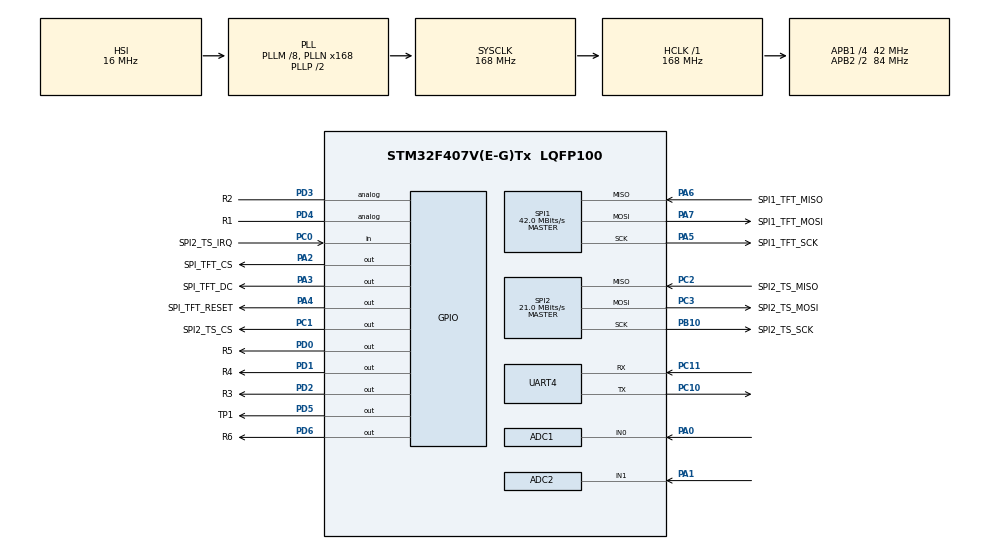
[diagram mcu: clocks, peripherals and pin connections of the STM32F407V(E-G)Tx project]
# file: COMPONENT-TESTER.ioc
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ADC1.Channel-2\#ChannelRegularConversion=ADC_CHANNEL_0
ADC1.ContinuousConvMode=ENABLE
ADC1.InjNumberOfConversion=0
ADC1.NbrOfConversion=1
ADC1.NbrOfConversionFlag=1
ADC1.Rank-2\#ChannelRegularConversion=1
ADC1.SamplingTime-2\#ChannelRegularConversion=ADC_SAMPLETIME_3CYCLES
ADC1.master=1
ADC2.Channel-1\#ChannelRegularConversion=ADC_CHANNEL_1
ADC2.ContinuousConvMode=DISABLE
ADC2.NbrOfConversionFlag=1
ADC2.Rank-1\#ChannelRegularConversion=1
ADC2.SamplingTime-1\#ChannelRegularConversion=ADC_SAMPLETIME_3CYCLES
Mcu.Family=STM32F4
Mcu.Name=STM32F407V(E-G)Tx
Mcu.Package=LQFP100
NVIC.PriorityGroup=NVIC_PRIORITYGROUP_4
NVIC.SPI1_IRQn=true\:0\:0\:false\:false\:true\:true\:true\:true
PA0-WKUP.Signal=ADCx_IN0
PA1.Signal=ADCx_IN1
PA13.Mode=Serial_Wire
PA13.Signal=SYS_JTMS-SWDIO
PA14.Mode=Serial_Wire
PA14.Signal=SYS_JTCK-SWCLK
PA2.GPIO_Label=SPI_TFT_CS
PA2.Signal=GPIO_Output
PA3.GPIO_Label=SPI_TFT_DC
PA3.Signal=GPIO_Output
PA4.GPIO_Label=SPI_TFT_RESET
PA4.Signal=GPIO_Output
PA5.GPIO_Label=SPI1_TFT_SCK
PA5.Mode=Full_Duplex_Master
PA5.Signal=SPI1_SCK
PA6.GPIO_Label=SPI1_TFT_MISO
PA6.Mode=Full_Duplex_Master
PA6.Signal=SPI1_MISO
PA7.GPIO_Label=SPI1_TFT_MOSI
PA7.Mode=Full_Duplex_Master
PA7.Signal=SPI1_MOSI
PB10.GPIO_Label=SPI2_TS_SCK
PB10.Mode=Full_Duplex_Master
PB10.Signal=SPI2_SCK
PC0.GPIO_Label=SPI2_TS_IRQ
PC0.Signal=GPIO_Input
PC1.GPIO_Label=SPI2_TS_CS
PC1.Signal=GPIO_Output
PC10.Mode=Asynchronous
PC10.Signal=UART4_TX
PC11.Mode=Asynchronous
PC11.Signal=UART4_RX
PC2.GPIO_Label=SPI2_TS_MISO
PC2.Mode=Full_Duplex_Master
PC2.Signal=SPI2_MISO
PC3.GPIO_Label=SPI2_TS_MOSI
PC3.Mode=Full_Duplex_Master
PC3.Signal=SPI2_MOSI
PD0.GPIO_Label=R5
PD0.Signal=GPIO_Output
PD1.GPIO_Label=R4
PD1.Signal=GPIO_Output
PD2.GPIO_Label=R3
PD2.Signal=GPIO_Output
PD3.GPIO_Label=R2
PD3.Signal=GPIO_Analog
PD4.GPIO_Label=R1
PD4.Signal=GPIO_Analog
PD5.GPIO_Label=TP1
PD5.GPIO_ModeDefaultOutputPP=GPIO_MODE_OUTPUT_PP
PD5.GPIO_PuPd=GPIO_NOPULL
PD5.Signal=GPIO_Output
PD6.GPIO_Label=R6
PD6.Signal=GPIO_Output
PH0-OSC_IN.Mode=HSE-External-Oscillator
PH0-OSC_IN.Signal=RCC_OSC_IN
PH1-OSC_OUT.Mode=HSE-External-Oscillator
PH1-OSC_OUT.Signal=RCC_OSC_OUT
ProjectManager.HeapSize=0x200
ProjectManager.StackSize=0x400
ProjectManager.TargetToolchain=Makefile
RCC.48MHZClocksFreq_Value=84000000
RCC.AHBFreq_Value=168000000
RCC.APB1CLKDivider=RCC_HCLK_DIV4
RCC.APB1Freq_Value=42000000
RCC.APB1TimFreq_Value=84000000
RCC.APB2CLKDivider=RCC_HCLK_DIV2
RCC.APB2Freq_Value=84000000
RCC.APB2TimFreq_Value=168000000
RCC.CortexFreq_Value=168000000
RCC.HCLKFreq_Value=168000000
RCC.HSE_VALUE=25000000
RCC.HSI_VALUE=16000000
RCC.LSE_VALUE=32768
RCC.PLLM=8
RCC.PLLN=168
RCC.SYSCLKFreq_VALUE=168000000
RCC.SYSCLKSource=RCC_SYSCLKSOURCE_PLLCLK
RCC.VCOOutputFreq_Value=336000000
SH.ADCx_IN0.0=ADC1_IN0,IN0
SH.ADCx_IN1.0=ADC2_IN1,IN1
SPI1.BaudRatePrescaler=SPI_BAUDRATEPRESCALER_2
SPI1.CalculateBaudRate=42.0 MBits/s
SPI1.Direction=SPI_DIRECTION_2LINES
SPI1.Mode=SPI_MODE_MASTER
SPI1.VirtualType=VM_MASTER
SPI2.CalculateBaudRate=21.0 MBits/s
SPI2.Direction=SPI_DIRECTION_2LINES
SPI2.Mode=SPI_MODE_MASTER
SPI2.VirtualType=VM_MASTER
TIM1.Prescaler=168-1
UART4.VirtualMode=Asynchronous
VP_TIM1_VS_ClockSourceINT.Mode=Internal
board=custom

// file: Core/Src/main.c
/* USER CODE BEGIN Header */
/**
  ******************************************************************************
  * @file           : main.c
  * @brief          : Main program body
  ******************************************************************************
  * @attention
  *
  * Copyright (c) 2023 STMicroelectronics.
  * All rights reserved.
  *
  * This software is licensed under terms that can be found in the LICENSE file
  * in the root directory of this software component.
  * If no LICENSE file comes with this software, it is provided AS-IS.
  *
  ******************************************************************************
  */
/* USER CODE END Header */
#include "main.h"
#include "delay.h"
#include <math.h>

ADC_HandleTypeDef hadc1;
ADC_HandleTypeDef hadc2;

SPI_HandleTypeDef hspi1;
SPI_HandleTypeDef hspi2;

TIM_HandleTypeDef htim1;

UART_HandleTypeDef huart4;

void SystemClock_Config(void);
static void MX_GPIO_Init(void);
static void MX_SPI1_Init(void);
static void MX_SPI2_Init(void);
static void MX_UART4_Init(void);
static void MX_ADC1_Init(void);
static void MX_ADC2_Init(void);
static void MX_TIM1_Init(void);

int main(void)
{

  /* MCU Configuration--------------------------------------------------------*/

  /* Reset of all peripherals, Initializes the Flash interface and the Systick. */
  HAL_Init();

  /* Configure the system clock */
  SystemClock_Config();

  /* Initialize all configured peripherals */
  MX_GPIO_Init();
  MX_SPI1_Init();
  MX_SPI2_Init();
  MX_UART4_Init();
  MX_ADC1_Init();
  MX_ADC2_Init();
  MX_TIM1_Init();
  /* USER CODE BEGIN 2 */

  //Create the display object
  struct ILI9341* display = ILI9341_Create(&hspi1, &huart4, 320, 240);
  //Create the touchscreen object
  struct XPT2046* ts = XPT2046_Create(320, 240, &hspi2, &huart4);

  //check if the objects were created, if not, print an error.
  if(ts==NULL || display == NULL){
    HAL_UART_Transmit(&huart4, (unsigned char *)"Display init failed\n\r", strlen("Display init failed\n\r"), HAL_MAX_DELAY);
  }
  //HAL_UART_Transmit(&huart4, (unsigned char *)"test\n\r", strlen("d\n\r"), HAL_MAX_DELAY);
  ILI9341_Init(display);//Send the display the init sequence

  Fill_Display(display, 0);

  HAL_UART_Transmit(&huart4, "uart4 test\r\n", strlen("uart3 test\n\r"), HAL_MAX_DELAY);

  char buffer[120];
  char buf2[20];
  char buf3[20];

  //Draw_Hollow_Rectangle(display, 0, 0, 130, 100, 2, RGB_to_HEX(17,24,31), 0xFFFF);

  /* USER CODE END 2 */

  /* Infinite loop */
  /* USER CODE BEGIN WHILE */
  float mes;
  float volts;
  float res;
  float mes1;
  float mes2;
  uint32_t v1;
  uint32_t v2;
  uint16_t pulses = 0;
  uint16_t refn = 0;
  uint16_t samplen = 1;
  float totalres=0;
  float totalavg=0;
  float currentres=0;
  float avg;
  double cap;
  double thelog;
  uint16_t xpos = 0;
uint32_t Ref_Resistors[REF_NUM] = {R1,R2,R3,R4,R5,R6};
uint16_t Resistor_Pins[REF_NUM] = {R1_Pin, R2_Pin, R3_Pin, R4_Pin, R5_Pin, R6_Pin};
  HAL_TIM_Base_Start(&htim1);
  Setup_Delay(&htim1);
  xpos=100;
  uint32_t charge_delay;

  while (1)
  {
    /* USER CODE END WHILE */

    /* USER CODE BEGIN 3 */

    /*
    Measure Resistors
    */

    //totalres=0;
    //refn=0;
    avg = totalres / samplen; //take a big total average
    currentres= Measure_Resistor(&hadc1);
    if((currentres>(avg*0.9)) && (currentres<(avg*1.1))){ //if value hasn't changed by >10%, add it to the average
      totalres+=currentres;
      samplen++;
    }else{
      avg = currentres; //reset the average
      totalres = currentres;
      samplen=1;
    }

    if(currentres){//if Measure_Resistor
    Resistance_String(buf2, avg);
    }else{
      sprintf(buf2, "OL");
    }
    sprintf(buffer, "Avg res %s\r\n", buf2);
    Fill_Area(display, 0, 100, xpos, 140, 0x0);
    xpos = LCD_Print_Text_Centred(display, buf2, notosans, noto_sans_widths, 40, 100, 1, 0xFFFF, 0x0);

    HAL_UART_Transmit(&huart4, buffer, strlen(buffer), HAL_MAX_DELAY);
    HAL_UART_Transmit(&huart4, "\r\n\r\n\r\n", strlen("\r\n\r\n\r\n"), HAL_MAX_DELAY);

  }

  /* USER CODE END 3 */
}

void SystemClock_Config(void)
{
  RCC_OscInitTypeDef RCC_OscInitStruct = {0};
  RCC_ClkInitTypeDef RCC_ClkInitStruct = {0};

  /** Configure the main internal regulator output voltage
  */
  __HAL_RCC_PWR_CLK_ENABLE();
  __HAL_PWR_VOLTAGESCALING_CONFIG(PWR_REGULATOR_VOLTAGE_SCALE1);

  /** Initializes the RCC Oscillators according to the specified parameters
  * in the RCC_OscInitTypeDef structure.
  */
  RCC_OscInitStruct.OscillatorType = RCC_OSCILLATORTYPE_HSI;
  RCC_OscInitStruct.HSIState = RCC_HSI_ON;
  RCC_OscInitStruct.HSICalibrationValue = RCC_HSICALIBRATION_DEFAULT;
  RCC_OscInitStruct.PLL.PLLState = RCC_PLL_ON;
  RCC_OscInitStruct.PLL.PLLSource = RCC_PLLSOURCE_HSI;
  RCC_OscInitStruct.PLL.PLLM = 8;
  RCC_OscInitStruct.PLL.PLLN = 168;
  RCC_OscInitStruct.PLL.PLLP = RCC_PLLP_DIV2;
  RCC_OscInitStruct.PLL.PLLQ = 4;
  if (HAL_RCC_OscConfig(&RCC_OscInitStruct) != HAL_OK)
  {
    Error_Handler();
  }

  /** Initializes the CPU, AHB and APB buses clocks
  */
  RCC_ClkInitStruct.ClockType = RCC_CLOCKTYPE_HCLK|RCC_CLOCKTYPE_SYSCLK
                              |RCC_CLOCKTYPE_PCLK1|RCC_CLOCKTYPE_PCLK2;
  RCC_ClkInitStruct.SYSCLKSource = RCC_SYSCLKSOURCE_PLLCLK;
  RCC_ClkInitStruct.AHBCLKDivider = RCC_SYSCLK_DIV1;
  RCC_ClkInitStruct.APB1CLKDivider = RCC_HCLK_DIV4;
  RCC_ClkInitStruct.APB2CLKDivider = RCC_HCLK_DIV2;

  if (HAL_RCC_ClockConfig(&RCC_ClkInitStruct, FLASH_LATENCY_5) != HAL_OK)
  {
    Error_Handler();
  }
}

static void MX_ADC1_Init(void)
{

  ADC_ChannelConfTypeDef sConfig = {0};

  /** Configure the global features of the ADC (Clock, Resolution, Data Alignment and number of conversion)
  */
  hadc1.Instance = ADC1;
  hadc1.Init.ClockPrescaler = ADC_CLOCK_SYNC_PCLK_DIV4;
  hadc1.Init.Resolution = ADC_RESOLUTION_12B;
  hadc1.Init.ScanConvMode = DISABLE;
  hadc1.Init.ContinuousConvMode = ENABLE;
  hadc1.Init.DiscontinuousConvMode = DISABLE;
  hadc1.Init.ExternalTrigConvEdge = ADC_EXTERNALTRIGCONVEDGE_NONE;
  hadc1.Init.ExternalTrigConv = ADC_SOFTWARE_START;
  hadc1.Init.DataAlign = ADC_DATAALIGN_RIGHT;
  hadc1.Init.NbrOfConversion = 1;
  hadc1.Init.DMAContinuousRequests = DISABLE;
  hadc1.Init.EOCSelection = ADC_EOC_SINGLE_CONV;
  if (HAL_ADC_Init(&hadc1) != HAL_OK)
  {
    Error_Handler();
  }

  /** Configure for the selected ADC regular channel its corresponding rank in the sequencer and its sample time.
  */
  sConfig.Channel = ADC_CHANNEL_0;
  sConfig.Rank = 1;
  sConfig.SamplingTime = ADC_SAMPLETIME_3CYCLES;
  if (HAL_ADC_ConfigChannel(&hadc1, &sConfig) != HAL_OK)
  {
    Error_Handler();
  }

}

static void MX_ADC2_Init(void)
{

  ADC_ChannelConfTypeDef sConfig = {0};

  /** Configure the global features of the ADC (Clock, Resolution, Data Alignment and number of conversion)
  */
  hadc2.Instance = ADC2;
  hadc2.Init.ClockPrescaler = ADC_CLOCK_SYNC_PCLK_DIV4;
  hadc2.Init.Resolution = ADC_RESOLUTION_12B;
  hadc2.Init.ScanConvMode = DISABLE;
  hadc2.Init.ContinuousConvMode = DISABLE;
  hadc2.Init.DiscontinuousConvMode = DISABLE;
  hadc2.Init.ExternalTrigConvEdge = ADC_EXTERNALTRIGCONVEDGE_NONE;
  hadc2.Init.ExternalTrigConv = ADC_SOFTWARE_START;
  hadc2.Init.DataAlign = ADC_DATAALIGN_RIGHT;
  hadc2.Init.NbrOfConversion = 1;
  hadc2.Init.DMAContinuousRequests = DISABLE;
  hadc2.Init.EOCSelection = ADC_EOC_SINGLE_CONV;
  if (HAL_ADC_Init(&hadc2) != HAL_OK)
  {
    Error_Handler();
  }

  /** Configure for the selected ADC regular channel its corresponding rank in the sequencer and its sample time.
  */
  sConfig.Channel = ADC_CHANNEL_1;
  sConfig.Rank = 1;
  sConfig.SamplingTime = ADC_SAMPLETIME_3CYCLES;
  if (HAL_ADC_ConfigChannel(&hadc2, &sConfig) != HAL_OK)
  {
    Error_Handler();
  }

}

static void MX_SPI1_Init(void)
{

  /* SPI1 parameter configuration*/
  hspi1.Instance = SPI1;
  hspi1.Init.Mode = SPI_MODE_MASTER;
  hspi1.Init.Direction = SPI_DIRECTION_2LINES;
  hspi1.Init.DataSize = SPI_DATASIZE_8BIT;
  hspi1.Init.CLKPolarity = SPI_POLARITY_LOW;
  hspi1.Init.CLKPhase = SPI_PHASE_1EDGE;
  hspi1.Init.NSS = SPI_NSS_SOFT;
  hspi1.Init.BaudRatePrescaler = SPI_BAUDRATEPRESCALER_2;
  hspi1.Init.FirstBit = SPI_FIRSTBIT_MSB;
  hspi1.Init.TIMode = SPI_TIMODE_DISABLE;
  hspi1.Init.CRCCalculation = SPI_CRCCALCULATION_DISABLE;
  hspi1.Init.CRCPolynomial = 10;
  if (HAL_SPI_Init(&hspi1) != HAL_OK)
  {
    Error_Handler();
  }

}

static void MX_SPI2_Init(void)
{

  /* SPI2 parameter configuration*/
  hspi2.Instance = SPI2;
  hspi2.Init.Mode = SPI_MODE_MASTER;
  hspi2.Init.Direction = SPI_DIRECTION_2LINES;
  hspi2.Init.DataSize = SPI_DATASIZE_8BIT;
  hspi2.Init.CLKPolarity = SPI_POLARITY_LOW;
  hspi2.Init.CLKPhase = SPI_PHASE_1EDGE;
  hspi2.Init.NSS = SPI_NSS_SOFT;
  hspi2.Init.BaudRatePrescaler = SPI_BAUDRATEPRESCALER_2;
  hspi2.Init.FirstBit = SPI_FIRSTBIT_MSB;
  hspi2.Init.TIMode = SPI_TIMODE_DISABLE;
  hspi2.Init.CRCCalculation = SPI_CRCCALCULATION_DISABLE;
  hspi2.Init.CRCPolynomial = 10;
  if (HAL_SPI_Init(&hspi2) != HAL_OK)
  {
    Error_Handler();
  }

}

static void MX_TIM1_Init(void)
{

  TIM_ClockConfigTypeDef sClockSourceConfig = {0};
  TIM_MasterConfigTypeDef sMasterConfig = {0};

  htim1.Instance = TIM1;
  htim1.Init.Prescaler = 168-1;
  htim1.Init.CounterMode = TIM_COUNTERMODE_UP;
  htim1.Init.Period = 65535;
  htim1.Init.ClockDivision = TIM_CLOCKDIVISION_DIV1;
  htim1.Init.RepetitionCounter = 0;
  htim1.Init.AutoReloadPreload = TIM_AUTORELOAD_PRELOAD_DISABLE;
  if (HAL_TIM_Base_Init(&htim1) != HAL_OK)
  {
    Error_Handler();
  }
  sClockSourceConfig.ClockSource = TIM_CLOCKSOURCE_INTERNAL;
  if (HAL_TIM_ConfigClockSource(&htim1, &sClockSourceConfig) != HAL_OK)
  {
    Error_Handler();
  }
  sMasterConfig.MasterOutputTrigger = TIM_TRGO_RESET;
  sMasterConfig.MasterSlaveMode = TIM_MASTERSLAVEMODE_DISABLE;
  if (HAL_TIMEx_MasterConfigSynchronization(&htim1, &sMasterConfig) != HAL_OK)
  {
    Error_Handler();
  }

}

static void MX_UART4_Init(void)
{

  huart4.Instance = UART4;
  huart4.Init.BaudRate = 115200;
  huart4.Init.WordLength = UART_WORDLENGTH_8B;
  huart4.Init.StopBits = UART_STOPBITS_1;
  huart4.Init.Parity = UART_PARITY_NONE;
  huart4.Init.Mode = UART_MODE_TX_RX;
  huart4.Init.HwFlowCtl = UART_HWCONTROL_NONE;
  huart4.Init.OverSampling = UART_OVERSAMPLING_16;
  if (HAL_UART_Init(&huart4) != HAL_OK)
  {
    Error_Handler();
  }

}

static void MX_GPIO_Init(void)
{
  GPIO_InitTypeDef GPIO_InitStruct = {0};

  /* GPIO Ports Clock Enable */
  __HAL_RCC_GPIOH_CLK_ENABLE();
  __HAL_RCC_GPIOC_CLK_ENABLE();
  __HAL_RCC_GPIOA_CLK_ENABLE();
  __HAL_RCC_GPIOB_CLK_ENABLE();
  __HAL_RCC_GPIOD_CLK_ENABLE();

  /*Configure GPIO pin Output Level */
  HAL_GPIO_WritePin(SPI2_TS_CS_GPIO_Port, SPI2_TS_CS_Pin, GPIO_PIN_RESET);

  /*Configure GPIO pin Output Level */
  HAL_GPIO_WritePin(GPIOA, SPI_TFT_CS_Pin|SPI_TFT_DC_Pin|SPI_TFT_RESET_Pin, GPIO_PIN_RESET);

  /*Configure GPIO pin Output Level */
  HAL_GPIO_WritePin(GPIOD, R5_Pin|R4_Pin|R3_Pin|TP1_Pin
                          |R6_Pin, GPIO_PIN_RESET);

  /*Configure GPIO pin : SPI2_TS_IRQ_Pin */
  GPIO_InitStruct.Pin = SPI2_TS_IRQ_Pin;
  GPIO_InitStruct.Mode = GPIO_MODE_INPUT;
  GPIO_InitStruct.Pull = GPIO_NOPULL;
  HAL_GPIO_Init(SPI2_TS_IRQ_GPIO_Port, &GPIO_InitStruct);

  /*Configure GPIO pin : SPI2_TS_CS_Pin */
  GPIO_InitStruct.Pin = SPI2_TS_CS_Pin;
  GPIO_InitStruct.Mode = GPIO_MODE_OUTPUT_PP;
  GPIO_InitStruct.Pull = GPIO_NOPULL;
  GPIO_InitStruct.Speed = GPIO_SPEED_FREQ_LOW;
  HAL_GPIO_Init(SPI2_TS_CS_GPIO_Port, &GPIO_InitStruct);

  /*Configure GPIO pins : SPI_TFT_CS_Pin SPI_TFT_DC_Pin SPI_TFT_RESET_Pin */
  GPIO_InitStruct.Pin = SPI_TFT_CS_Pin|SPI_TFT_DC_Pin|SPI_TFT_RESET_Pin;
  GPIO_InitStruct.Mode = GPIO_MODE_OUTPUT_PP;
  GPIO_InitStruct.Pull = GPIO_NOPULL;
  GPIO_InitStruct.Speed = GPIO_SPEED_FREQ_LOW;
  HAL_GPIO_Init(GPIOA, &GPIO_InitStruct);

  /*Configure GPIO pins : R5_Pin R4_Pin R3_Pin TP1_Pin
                           R6_Pin */
  GPIO_InitStruct.Pin = R5_Pin|R4_Pin|R3_Pin|TP1_Pin
                          |R6_Pin;
  GPIO_InitStruct.Mode = GPIO_MODE_OUTPUT_PP;
  GPIO_InitStruct.Pull = GPIO_NOPULL;
  GPIO_InitStruct.Speed = GPIO_SPEED_FREQ_LOW;
  HAL_GPIO_Init(GPIOD, &GPIO_InitStruct);

  /*Configure GPIO pins : R2_Pin R1_Pin */
  GPIO_InitStruct.Pin = R2_Pin|R1_Pin;
  GPIO_InitStruct.Mode = GPIO_MODE_ANALOG;
  GPIO_InitStruct.Pull = GPIO_NOPULL;
  HAL_GPIO_Init(GPIOD, &GPIO_InitStruct);

}

void Error_Handler(void)
{
  __disable_irq();
  while (1)
  {
  }
}
